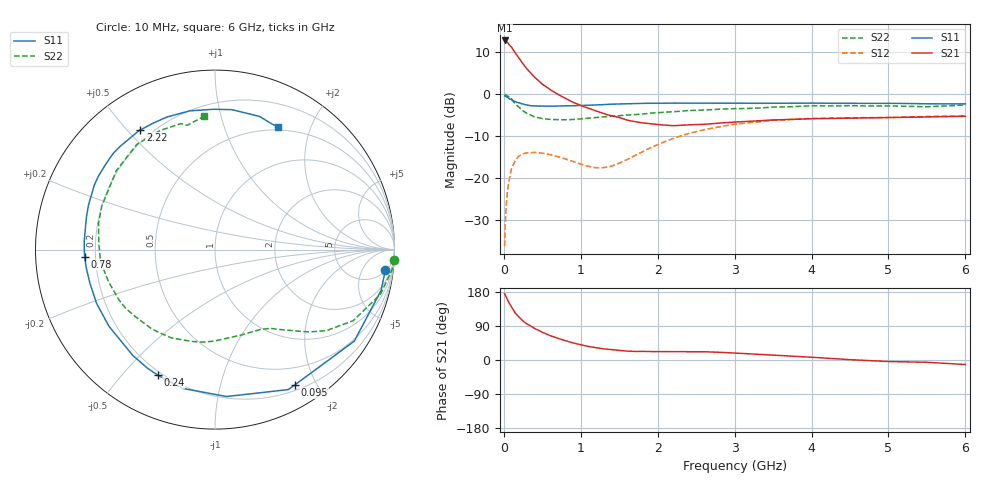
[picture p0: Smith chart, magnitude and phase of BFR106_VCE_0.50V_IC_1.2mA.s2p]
! Infineon Technologies  Discrete & RF Semiconductors
! BFR106
! VCE = 0.50 V,  IC =  1.2 mA
! Common Emitter S-Parameters:  Nov 2015
# GHz  S  MA  R  50
!  f  S11  S21  S12  S22
! GHz  MAG  ANG  MAG  ANG  MAG  ANG  MAG  ANG
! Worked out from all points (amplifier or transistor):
!   210 points, 10 MHz to 6 GHz, reference 50 ohm
!   highest |S21| = 12.8 dB at 10 MHz (marker M1)
!   |S21| within 3 dB of that: start of sweep to 149.7 MHz
!   unconditionally stable (mu >= 1): 795.4 MHz to end of sweep
!   at 185 MHz: K = 0.25, MSG = 12.0 dB, |S12| = -15.0 dB
!   at 1.52 GHz: K = 1.49, MAG = 1.2 dB, |S12| = -16.3 dB
!   at 6 GHz: K = 1.02, MAG = -1.0 dB, |S12| = -5.1 dB
!   S11 on the Smith chart (normalised r, x): 10 MHz: 6, -15; 95 MHz: 0.27, -1.72; 240 MHz: 0.18, -0.63; 780 MHz: 0.16, -0.03; 2.22 GHz: 0.16, +0.54; 6 GHz: 0.46, +1.53
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0.01  0.956 -6.8  4.389 174.9  0.0154 87.0  0.9974 -3.2
0.015  0.9527 -10.3  4.362 173.0  0.0231 83.5  0.9953 -4.7
0.025  0.9414 -16.9  4.287 168.9  0.0378 78.0  0.9858 -7.7
0.05  0.9286 -33.3  4.127 157.4  0.0736 70.1  0.9547 -15.1
0.095  0.875 -59.4  3.689 141.3  0.1241 55.4  0.8731 -25.9
0.1  0.8807 -62.3  3.661 139.3  0.13 54.5  0.8661 -27.2
0.15  0.8211 -85.5  3.105 123.5  0.1641 41.5  0.7681 -36.0
0.2  0.7942 -103.3  2.68 112.4  0.1842 32.9  0.6947 -41.3
0.24  0.7683 -114.6  2.373 104.7  0.1929 27.3  0.6442 -44.8
0.3  0.7467 -127.8  2.007 95.3  0.2006 21.2  0.593 -49.1
0.4  0.7291 -144.2  1.6 83.0  0.2025 13.8  0.5382 -54.7
0.5  0.7245 -155.6  1.32 73.0  0.1986 8.9  0.5124 -60.0
0.6  0.7217 -165.0  1.139 64.4  0.1908 5.7  0.5019 -65.9
0.78  0.727 -176.9  0.914 52.3  0.1715 4.1  0.4965 -77.1
1.02  0.7337 169.2  0.724 39.5  0.1447 8.9  0.5117 -92.2
1.4  0.7624 151.9  0.553 27.1  0.1388 33.7  0.549 -116.5
2.02  0.7807 128.6  0.434 22.2  0.2555 49.9  0.6049 -153.6
2.22  0.7856 122.0  0.423 22.2  0.3011 47.7  0.6211 -164.5
3.1  0.7831 98.3  0.471 17.3  0.4481 29.5  0.676 155.4
4.1  0.7834 81.9  0.512 6.0  0.5168 10.6  0.7279 124.2
5.1  0.7795 70.6  0.529 -4.5  0.5317 -2.2  0.7236 104.6
6  0.7673 63.0  0.547 -11.9  0.5571 -11.0  0.7455 94.6
